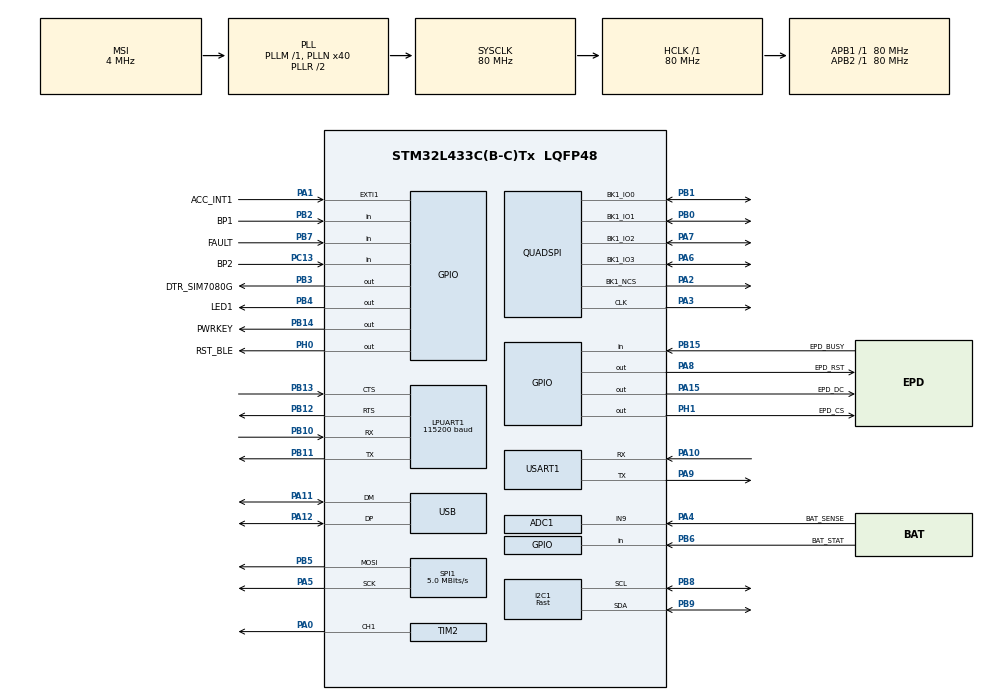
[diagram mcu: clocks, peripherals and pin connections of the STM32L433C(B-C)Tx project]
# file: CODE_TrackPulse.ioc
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ADC1.Channel-6\#ChannelRegularConversion=ADC_CHANNEL_9
ADC1.ClockPrescaler=ADC_CLOCK_SYNC_PCLK_DIV4
ADC1.EnableRegularConversion=ENABLE
ADC1.NbrOfConversion=1
ADC1.NbrOfConversionFlag=1
ADC1.OffsetNumber-6\#ChannelRegularConversion=ADC_OFFSET_NONE
ADC1.Rank-6\#ChannelRegularConversion=1
ADC1.SamplingTime-6\#ChannelRegularConversion=ADC_SAMPLETIME_640CYCLES_5
ADC1.master=1
I2C1.I2C_Speed_Mode=I2C_Fast
I2C1.Timing=0x00F12981
LPUART1.BaudRate=115200
Mcu.Family=STM32L4
Mcu.Name=STM32L433C(B-C)Tx
Mcu.Package=LQFP48
NVIC.EXTI1_IRQn=true\:0\:0\:false\:false\:true\:true\:true\:true
NVIC.PriorityGroup=NVIC_PRIORITYGROUP_4
NVIC.RTC_WKUP_IRQn=true\:0\:0\:false\:false\:true\:true\:true\:true
NVIC.USART1_IRQn=true\:0\:0\:false\:false\:true\:true\:true\:true
NVIC.USB_IRQn=true\:0\:0\:false\:false\:true\:false\:true\:true
PA0.Signal=S_TIM2_CH1
PA1.GPIO_Label=ACC_INT1
PA1.Signal=GPXTI1
PA10.Mode=Asynchronous
PA10.Signal=USART1_RX
PA11.Mode=Device
PA11.Signal=USB_DM
PA12.Mode=Device
PA12.Signal=USB_DP
PA13\ (JTMS-SWDIO).Mode=Serial_Wire
PA13\ (JTMS-SWDIO).Signal=SYS_JTMS-SWDIO
PA14\ (JTCK-SWCLK).Mode=Serial_Wire
PA14\ (JTCK-SWCLK).Signal=SYS_JTCK-SWCLK
PA15\ (JTDI).GPIO_Label=EPD_DC
PA15\ (JTDI).Signal=GPIO_Output
PA2.Mode=Single Bank 1
PA2.Signal=QUADSPI_BK1_NCS
PA3.Mode=Single Bank 1
PA3.Signal=QUADSPI_CLK
PA4.GPIO_Label=BAT_SENSE
PA4.Signal=ADCx_IN9
PA5.Mode=TX_Only_Simplex_Unidirect_Master
PA5.Signal=SPI1_SCK
PA6.Mode=Single Bank 1
PA6.Signal=QUADSPI_BK1_IO3
PA7.Mode=Single Bank 1
PA7.Signal=QUADSPI_BK1_IO2
PA8.GPIO_Label=EPD_RST
PA8.PinState=GPIO_PIN_SET
PA8.Signal=GPIO_Output
PA9.Mode=Asynchronous
PA9.Signal=USART1_TX
PB0.Mode=Single Bank 1
PB0.Signal=QUADSPI_BK1_IO1
PB1.Mode=Single Bank 1
PB1.Signal=QUADSPI_BK1_IO0
PB10.Mode=Asynchronous
PB10.Signal=LPUART1_RX
PB11.Mode=Asynchronous
PB11.Signal=LPUART1_TX
PB12.Mode=CTS_RTS
PB12.Signal=LPUART1_RTS
PB13.Mode=CTS_RTS
PB13.Signal=LPUART1_CTS
PB14.GPIO_Label=PWRKEY
PB14.Signal=GPIO_Output
PB15.GPIO_Label=EPD_BUSY
PB15.Signal=GPIO_Input
PB2.GPIO_Label=BP1
PB2.GPIO_PuPd=GPIO_PULLUP
PB2.Signal=GPIO_Input
PB3\ (JTDO-TRACESWO).GPIO_Label=DTR_SIM7080G
PB3\ (JTDO-TRACESWO).Signal=GPIO_Output
PB4\ (NJTRST).GPIO_Label=LED1
PB4\ (NJTRST).PinState=GPIO_PIN_SET
PB4\ (NJTRST).Signal=GPIO_Output
PB5.Mode=TX_Only_Simplex_Unidirect_Master
PB5.Signal=SPI1_MOSI
PB6.GPIO_Label=BAT_STAT
PB6.GPIO_PuPd=GPIO_PULLUP
PB6.Signal=GPIO_Input
PB7.GPIO_Label=FAULT
PB7.GPIO_PuPd=GPIO_PULLUP
PB7.Signal=GPIO_Input
PB8.Mode=I2C
PB8.Signal=I2C1_SCL
PB9.Mode=I2C
PB9.Signal=I2C1_SDA
PC13.GPIO_Label=BP2
PC13.GPIO_PuPd=GPIO_PULLUP
PC13.Signal=GPIO_Input
PC14-OSC32_IN\ (PC14).Mode=LSE-External-Oscillator
PC14-OSC32_IN\ (PC14).Signal=RCC_OSC32_IN
PC15-OSC32_OUT\ (PC15).Mode=LSE-External-Oscillator
PC15-OSC32_OUT\ (PC15).Signal=RCC_OSC32_OUT
PH0-OSC_IN\ (PH0).GPIO_Label=RST_BLE
PH0-OSC_IN\ (PH0).PinState=GPIO_PIN_SET
PH0-OSC_IN\ (PH0).Signal=GPIO_Output
PH1-OSC_OUT\ (PH1).GPIO_Label=EPD_CS
PH1-OSC_OUT\ (PH1).PinState=GPIO_PIN_SET
PH1-OSC_OUT\ (PH1).Signal=GPIO_Output
ProjectManager.HeapSize=0x200
ProjectManager.StackSize=0x400
ProjectManager.TargetToolchain=CMake
QUADSPI.ChipSelectHighTime=QSPI_CS_HIGH_TIME_5_CYCLE
QUADSPI.ClockPrescaler=1
QUADSPI.FifoThreshold=4
QUADSPI.FlashSize=22
RCC.ADCFreq_Value=48000000
RCC.AHBFreq_Value=80000000
RCC.APB1Freq_Value=80000000
RCC.APB1TimFreq_Value=80000000
RCC.APB2Freq_Value=80000000
RCC.APB2TimFreq_Value=80000000
RCC.CK48CLockSelection=RCC_USBCLKSOURCE_HSI48
RCC.CortexFreq_Value=80000000
RCC.HCLKFreq_Value=80000000
RCC.HSE_VALUE=8000000
RCC.HSI48_VALUE=48000000
RCC.HSI_VALUE=16000000
RCC.LPUART1CLockSelection=RCC_LPUART1CLKSOURCE_HSI
RCC.MSI_VALUE=4000000
RCC.PLLN=40
RCC.PLLSAI1N=24
RCC.RTCClockSelection=RCC_RTCCLKSOURCE_LSE
RCC.SYSCLKFreq_VALUE=80000000
RCC.SYSCLKSource=RCC_SYSCLKSOURCE_PLLCLK
RCC.USBFreq_Value=48000000
RCC.VCOOutputFreq_Value=160000000
RTC.Date=1
RTC.Month=RTC_MONTH_NOVEMBER
RTC.Year=26
SH.ADCx_IN9.0=ADC1_IN9,IN9-Single-Ended
SH.S_TIM2_CH1.0=TIM2_CH1,PWM Generation1 CH1
SPI1.BaudRatePrescaler=SPI_BAUDRATEPRESCALER_16
SPI1.CalculateBaudRate=5.0 MBits/s
SPI1.DataSize=SPI_DATASIZE_8BIT
SPI1.Direction=SPI_DIRECTION_2LINES
SPI1.Mode=SPI_MODE_MASTER
SPI1.NSSPMode=SPI_NSS_PULSE_DISABLE
SPI1.VirtualType=VM_MASTER
TIM2.AutoReloadPreload=TIM_AUTORELOAD_PRELOAD_ENABLE
TIM2.Channel-PWM\ Generation1\ CH1=TIM_CHANNEL_1
TIM2.Period=365
TIM2.Prescaler=79
TIM2.Pulse-PWM\ Generation1\ CH1=183
USART1.VirtualMode-Asynchronous=VM_ASYNC
USB.battery_charging_enable=DISABLE
USB_DEVICE.CLASS_NAME_FS=CDC
USB_DEVICE.VirtualMode=Cdc
USB_DEVICE.VirtualModeFS=Cdc_FS
VP_RCC_USB.Mode=CRS SYNC Source USB
VP_RTC_VS_RTC_Activate.Mode=RTC_Enabled
VP_RTC_VS_RTC_Calendar.Mode=RTC_Calendar
VP_RTC_VS_RTC_WakeUp_intern.Mode=WakeUp
VP_TIM2_VS_ClockSourceINT.Mode=Internal
VP_USB_DEVICE_VS_USB_DEVICE_CDC_FS.Mode=CDC_FS
board=custom

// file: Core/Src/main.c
/* USER CODE BEGIN Header */
/**
  ******************************************************************************
  * @file           : main.c
  * @brief          : Main program body
  ******************************************************************************
  * @attention
  *
  * Copyright (c) 2026 STMicroelectronics.
  * All rights reserved.
  *
  * This software is licensed under terms that can be found in the LICENSE file
  * in the root directory of this software component.
  * If no LICENSE file comes with this software, it is provided AS-IS.
  *
  ******************************************************************************
  */
/* USER CODE END Header */
#include "main.h"
#include "usb_device.h"

/* USER CODE BEGIN Includes */
#include <stdio.h>
#include "tp_app.h"
#include "tp_ble_rn4871.h"
#include "tp_board.h"
#include "tp_config.h"
#include "tp_modem_sim7080g.h"
/* USER CODE END Includes */

ADC_HandleTypeDef hadc1;

I2C_HandleTypeDef hi2c1;

UART_HandleTypeDef hlpuart1;
UART_HandleTypeDef huart1;

QSPI_HandleTypeDef hqspi;

RTC_HandleTypeDef hrtc;

SPI_HandleTypeDef hspi1;

TIM_HandleTypeDef htim2;

void SystemClock_Config(void);
static void MX_GPIO_Init(void);
static void MX_LPUART1_UART_Init(void);
static void MX_QUADSPI_Init(void);
static void MX_ADC1_Init(void);
static void MX_I2C1_Init(void);
static void MX_USART1_UART_Init(void);
static void MX_RTC_Init(void);
static void MX_SPI1_Init(void);
static void MX_TIM2_Init(void);

int main(void)
{

  /* MCU Configuration--------------------------------------------------------*/

  /* Reset of all peripherals, Initializes the Flash interface and the Systick. */
  HAL_Init();

  /* Configure the system clock */
  SystemClock_Config();

  /* Initialize all configured peripherals */
  MX_GPIO_Init();
  MX_LPUART1_UART_Init();
  MX_QUADSPI_Init();
  MX_ADC1_Init();
  MX_I2C1_Init();
  MX_USART1_UART_Init();
  MX_RTC_Init();
  MX_SPI1_Init();
  MX_TIM2_Init();
  MX_USB_DEVICE_Init();
  /* USER CODE BEGIN 2 */
  tp_app_init();
  /* USER CODE END 2 */

  /* Infinite loop */
  while (1)
  {

    /* USER CODE BEGIN 3 */
    tp_app_loop();
  }
  /* USER CODE END 3 */
}

void SystemClock_Config(void)
{
  RCC_OscInitTypeDef RCC_OscInitStruct = {0};
  RCC_ClkInitTypeDef RCC_ClkInitStruct = {0};
  RCC_CRSInitTypeDef RCC_CRSInitStruct = {0};

  /** Configure the main internal regulator output voltage
  */
  if (HAL_PWREx_ControlVoltageScaling(PWR_REGULATOR_VOLTAGE_SCALE1) != HAL_OK)
  {
    Error_Handler();
  }

  /** Configure LSE Drive Capability
  */
  HAL_PWR_EnableBkUpAccess();
  __HAL_RCC_LSEDRIVE_CONFIG(RCC_LSEDRIVE_LOW);

  /** Initializes the RCC Oscillators according to the specified parameters
  * in the RCC_OscInitTypeDef structure.
  */
  RCC_OscInitStruct.OscillatorType = RCC_OSCILLATORTYPE_HSI48|RCC_OSCILLATORTYPE_HSI
                              |RCC_OSCILLATORTYPE_LSE|RCC_OSCILLATORTYPE_MSI;
  RCC_OscInitStruct.LSEState = RCC_LSE_ON;
  RCC_OscInitStruct.HSIState = RCC_HSI_ON;
  RCC_OscInitStruct.HSI48State = RCC_HSI48_ON;
  RCC_OscInitStruct.HSICalibrationValue = RCC_HSICALIBRATION_DEFAULT;
  RCC_OscInitStruct.MSIState = RCC_MSI_ON;
  RCC_OscInitStruct.MSICalibrationValue = 0;
  RCC_OscInitStruct.MSIClockRange = RCC_MSIRANGE_6;
  RCC_OscInitStruct.PLL.PLLState = RCC_PLL_ON;
  RCC_OscInitStruct.PLL.PLLSource = RCC_PLLSOURCE_MSI;
  RCC_OscInitStruct.PLL.PLLM = 1;
  RCC_OscInitStruct.PLL.PLLN = 40;
  RCC_OscInitStruct.PLL.PLLP = RCC_PLLP_DIV7;
  RCC_OscInitStruct.PLL.PLLQ = RCC_PLLQ_DIV2;
  RCC_OscInitStruct.PLL.PLLR = RCC_PLLR_DIV2;
  if (HAL_RCC_OscConfig(&RCC_OscInitStruct) != HAL_OK)
  {
    Error_Handler();
  }

  /** Initializes the CPU, AHB and APB buses clocks
  */
  RCC_ClkInitStruct.ClockType = RCC_CLOCKTYPE_HCLK|RCC_CLOCKTYPE_SYSCLK
                              |RCC_CLOCKTYPE_PCLK1|RCC_CLOCKTYPE_PCLK2;
  RCC_ClkInitStruct.SYSCLKSource = RCC_SYSCLKSOURCE_PLLCLK;
  RCC_ClkInitStruct.AHBCLKDivider = RCC_SYSCLK_DIV1;
  RCC_ClkInitStruct.APB1CLKDivider = RCC_HCLK_DIV1;
  RCC_ClkInitStruct.APB2CLKDivider = RCC_HCLK_DIV1;

  if (HAL_RCC_ClockConfig(&RCC_ClkInitStruct, FLASH_LATENCY_4) != HAL_OK)
  {
    Error_Handler();
  }

  /** Enable MSI Auto calibration
  */
  HAL_RCCEx_EnableMSIPLLMode();

  /** Enable the SYSCFG APB clock
  */
  __HAL_RCC_CRS_CLK_ENABLE();

  /** Configures CRS
  */
  RCC_CRSInitStruct.Prescaler = RCC_CRS_SYNC_DIV1;
  RCC_CRSInitStruct.Source = RCC_CRS_SYNC_SOURCE_USB;
  RCC_CRSInitStruct.Polarity = RCC_CRS_SYNC_POLARITY_RISING;
  RCC_CRSInitStruct.ReloadValue = __HAL_RCC_CRS_RELOADVALUE_CALCULATE(48000000,1000);
  RCC_CRSInitStruct.ErrorLimitValue = 34;
  RCC_CRSInitStruct.HSI48CalibrationValue = 32;

  HAL_RCCEx_CRSConfig(&RCC_CRSInitStruct);
}

static void MX_ADC1_Init(void)
{

  ADC_ChannelConfTypeDef sConfig = {0};

  /** Common config
  */
  hadc1.Instance = ADC1;
  hadc1.Init.ClockPrescaler = ADC_CLOCK_SYNC_PCLK_DIV4;
  hadc1.Init.Resolution = ADC_RESOLUTION_12B;
  hadc1.Init.DataAlign = ADC_DATAALIGN_RIGHT;
  hadc1.Init.ScanConvMode = ADC_SCAN_DISABLE;
  hadc1.Init.EOCSelection = ADC_EOC_SINGLE_CONV;
  hadc1.Init.LowPowerAutoWait = DISABLE;
  hadc1.Init.ContinuousConvMode = DISABLE;
  hadc1.Init.NbrOfConversion = 1;
  hadc1.Init.DiscontinuousConvMode = DISABLE;
  hadc1.Init.ExternalTrigConv = ADC_SOFTWARE_START;
  hadc1.Init.ExternalTrigConvEdge = ADC_EXTERNALTRIGCONVEDGE_NONE;
  hadc1.Init.DMAContinuousRequests = DISABLE;
  hadc1.Init.Overrun = ADC_OVR_DATA_PRESERVED;
  hadc1.Init.OversamplingMode = DISABLE;
  if (HAL_ADC_Init(&hadc1) != HAL_OK)
  {
    Error_Handler();
  }

  /** Configure Regular Channel
  */
  sConfig.Channel = ADC_CHANNEL_9;
  sConfig.Rank = ADC_REGULAR_RANK_1;
  sConfig.SamplingTime = ADC_SAMPLETIME_640CYCLES_5;
  sConfig.SingleDiff = ADC_SINGLE_ENDED;
  sConfig.OffsetNumber = ADC_OFFSET_NONE;
  sConfig.Offset = 0;
  if (HAL_ADC_ConfigChannel(&hadc1, &sConfig) != HAL_OK)
  {
    Error_Handler();
  }

}

static void MX_I2C1_Init(void)
{

  hi2c1.Instance = I2C1;
  hi2c1.Init.Timing = 0x00F12981;
  hi2c1.Init.OwnAddress1 = 0;
  hi2c1.Init.AddressingMode = I2C_ADDRESSINGMODE_7BIT;
  hi2c1.Init.DualAddressMode = I2C_DUALADDRESS_DISABLE;
  hi2c1.Init.OwnAddress2 = 0;
  hi2c1.Init.OwnAddress2Masks = I2C_OA2_NOMASK;
  hi2c1.Init.GeneralCallMode = I2C_GENERALCALL_DISABLE;
  hi2c1.Init.NoStretchMode = I2C_NOSTRETCH_DISABLE;
  if (HAL_I2C_Init(&hi2c1) != HAL_OK)
  {
    Error_Handler();
  }

  /** Configure Analogue filter
  */
  if (HAL_I2CEx_ConfigAnalogFilter(&hi2c1, I2C_ANALOGFILTER_ENABLE) != HAL_OK)
  {
    Error_Handler();
  }

  /** Configure Digital filter
  */
  if (HAL_I2CEx_ConfigDigitalFilter(&hi2c1, 0) != HAL_OK)
  {
    Error_Handler();
  }

}

static void MX_LPUART1_UART_Init(void)
{

  hlpuart1.Instance = LPUART1;
  hlpuart1.Init.BaudRate = 115200;
  hlpuart1.Init.WordLength = UART_WORDLENGTH_7B;
  hlpuart1.Init.StopBits = UART_STOPBITS_1;
  hlpuart1.Init.Parity = UART_PARITY_NONE;
  hlpuart1.Init.Mode = UART_MODE_TX_RX;
  hlpuart1.Init.HwFlowCtl = UART_HWCONTROL_RTS_CTS;
  hlpuart1.Init.OneBitSampling = UART_ONE_BIT_SAMPLE_DISABLE;
  hlpuart1.AdvancedInit.AdvFeatureInit = UART_ADVFEATURE_NO_INIT;
  if (HAL_UART_Init(&hlpuart1) != HAL_OK)
  {
    Error_Handler();
  }
  /* USER CODE BEGIN LPUART1_Init 2 */
  /* Override CubeMX 7-bit default -> 8-N-1 required by RN4871 & binary protocol */
  hlpuart1.Init.WordLength = UART_WORDLENGTH_8B;
  if (HAL_UART_Init(&hlpuart1) != HAL_OK)
  {
    Error_Handler();
  }
  HAL_NVIC_SetPriority(LPUART1_IRQn, 1, 0);
  HAL_NVIC_EnableIRQ(LPUART1_IRQn);
  /* USER CODE END LPUART1_Init 2 */

}

static void MX_USART1_UART_Init(void)
{

  huart1.Instance = USART1;
  huart1.Init.BaudRate = 115200;
  huart1.Init.WordLength = UART_WORDLENGTH_8B;
  huart1.Init.StopBits = UART_STOPBITS_1;
  huart1.Init.Parity = UART_PARITY_NONE;
  huart1.Init.Mode = UART_MODE_TX_RX;
  huart1.Init.HwFlowCtl = UART_HWCONTROL_NONE;
  huart1.Init.OverSampling = UART_OVERSAMPLING_16;
  huart1.Init.OneBitSampling = UART_ONE_BIT_SAMPLE_DISABLE;
  huart1.AdvancedInit.AdvFeatureInit = UART_ADVFEATURE_NO_INIT;
  if (HAL_UART_Init(&huart1) != HAL_OK)
  {
    Error_Handler();
  }

}

static void MX_QUADSPI_Init(void)
{

  /* QUADSPI parameter configuration*/
  hqspi.Instance = QUADSPI;
  hqspi.Init.ClockPrescaler = 1;
  hqspi.Init.FifoThreshold = 4;
  hqspi.Init.SampleShifting = QSPI_SAMPLE_SHIFTING_NONE;
  hqspi.Init.FlashSize = 22;
  hqspi.Init.ChipSelectHighTime = QSPI_CS_HIGH_TIME_5_CYCLE;
  hqspi.Init.ClockMode = QSPI_CLOCK_MODE_0;
  hqspi.Init.FlashID = QSPI_FLASH_ID_1;
  hqspi.Init.DualFlash = QSPI_DUALFLASH_DISABLE;
  if (HAL_QSPI_Init(&hqspi) != HAL_OK)
  {
    Error_Handler();
  }

}

static void MX_RTC_Init(void)
{

  RTC_TimeTypeDef sTime = {0};
  RTC_DateTypeDef sDate = {0};

  /** Initialize RTC Only
  */
  hrtc.Instance = RTC;
  hrtc.Init.HourFormat = RTC_HOURFORMAT_24;
  hrtc.Init.AsynchPrediv = 127;
  hrtc.Init.SynchPrediv = 255;
  hrtc.Init.OutPut = RTC_OUTPUT_DISABLE;
  hrtc.Init.OutPutRemap = RTC_OUTPUT_REMAP_NONE;
  hrtc.Init.OutPutPolarity = RTC_OUTPUT_POLARITY_HIGH;
  hrtc.Init.OutPutType = RTC_OUTPUT_TYPE_OPENDRAIN;
  if (HAL_RTC_Init(&hrtc) != HAL_OK)
  {
    Error_Handler();
  }

  /* USER CODE BEGIN Check_RTC_BKUP */
  if (HAL_RTCEx_BKUPRead(&hrtc, RTC_BKP_DR0) == TP_RTC_BKP_MAGIC)
  {
    return;
  }
  /* USER CODE END Check_RTC_BKUP */

  /** Initialize RTC and set the Time and Date
  */
  sTime.Hours = 0x0;
  sTime.Minutes = 0x0;
  sTime.Seconds = 0x0;
  sTime.DayLightSaving = RTC_DAYLIGHTSAVING_NONE;
  sTime.StoreOperation = RTC_STOREOPERATION_RESET;
  if (HAL_RTC_SetTime(&hrtc, &sTime, RTC_FORMAT_BCD) != HAL_OK)
  {
    Error_Handler();
  }
  sDate.WeekDay = RTC_WEEKDAY_MONDAY;
  sDate.Month = RTC_MONTH_NOVEMBER;
  sDate.Date = 0x1;
  sDate.Year = 0x26;

  if (HAL_RTC_SetDate(&hrtc, &sDate, RTC_FORMAT_BCD) != HAL_OK)
  {
    Error_Handler();
  }

}

static void MX_SPI1_Init(void)
{

  /* SPI1 parameter configuration*/
  hspi1.Instance = SPI1;
  hspi1.Init.Mode = SPI_MODE_MASTER;
  hspi1.Init.Direction = SPI_DIRECTION_2LINES;
  hspi1.Init.DataSize = SPI_DATASIZE_8BIT;
  hspi1.Init.CLKPolarity = SPI_POLARITY_LOW;
  hspi1.Init.CLKPhase = SPI_PHASE_1EDGE;
  hspi1.Init.NSS = SPI_NSS_SOFT;
  hspi1.Init.BaudRatePrescaler = SPI_BAUDRATEPRESCALER_16;
  hspi1.Init.FirstBit = SPI_FIRSTBIT_MSB;
  hspi1.Init.TIMode = SPI_TIMODE_DISABLE;
  hspi1.Init.CRCCalculation = SPI_CRCCALCULATION_DISABLE;
  hspi1.Init.CRCPolynomial = 7;
  hspi1.Init.CRCLength = SPI_CRC_LENGTH_DATASIZE;
  hspi1.Init.NSSPMode = SPI_NSS_PULSE_DISABLE;
  if (HAL_SPI_Init(&hspi1) != HAL_OK)
  {
    Error_Handler();
  }

}

static void MX_TIM2_Init(void)
{

  TIM_ClockConfigTypeDef sClockSourceConfig = {0};
  TIM_MasterConfigTypeDef sMasterConfig = {0};
  TIM_OC_InitTypeDef sConfigOC = {0};

  htim2.Instance = TIM2;
  htim2.Init.Prescaler = 79;
  htim2.Init.CounterMode = TIM_COUNTERMODE_UP;
  htim2.Init.Period = 365;
  htim2.Init.ClockDivision = TIM_CLOCKDIVISION_DIV1;
  htim2.Init.AutoReloadPreload = TIM_AUTORELOAD_PRELOAD_ENABLE;
  if (HAL_TIM_Base_Init(&htim2) != HAL_OK)
  {
    Error_Handler();
  }
  sClockSourceConfig.ClockSource = TIM_CLOCKSOURCE_INTERNAL;
  if (HAL_TIM_ConfigClockSource(&htim2, &sClockSourceConfig) != HAL_OK)
  {
    Error_Handler();
  }
  if (HAL_TIM_PWM_Init(&htim2) != HAL_OK)
  {
    Error_Handler();
  }
  sMasterConfig.MasterOutputTrigger = TIM_TRGO_RESET;
  sMasterConfig.MasterSlaveMode = TIM_MASTERSLAVEMODE_DISABLE;
  if (HAL_TIMEx_MasterConfigSynchronization(&htim2, &sMasterConfig) != HAL_OK)
  {
    Error_Handler();
  }
  sConfigOC.OCMode = TIM_OCMODE_PWM1;
  sConfigOC.Pulse = 183;
  sConfigOC.OCPolarity = TIM_OCPOLARITY_HIGH;
  sConfigOC.OCFastMode = TIM_OCFAST_DISABLE;
  if (HAL_TIM_PWM_ConfigChannel(&htim2, &sConfigOC, TIM_CHANNEL_1) != HAL_OK)
  {
    Error_Handler();
  }
  HAL_TIM_MspPostInit(&htim2);

}

static void MX_GPIO_Init(void)
{
  GPIO_InitTypeDef GPIO_InitStruct = {0};

  /* GPIO Ports Clock Enable */
  __HAL_RCC_GPIOC_CLK_ENABLE();
  __HAL_RCC_GPIOH_CLK_ENABLE();
  __HAL_RCC_GPIOA_CLK_ENABLE();
  __HAL_RCC_GPIOB_CLK_ENABLE();

  /*Configure GPIO pin Output Level */
  HAL_GPIO_WritePin(GPIOH, RST_BLE_Pin|EPD_CS_Pin, GPIO_PIN_SET);

  /*Configure GPIO pin Output Level */
  HAL_GPIO_WritePin(GPIOB, PWRKEY_Pin|DTR_SIM7080G_Pin, GPIO_PIN_RESET);

  /*Configure GPIO pin Output Level */
  HAL_GPIO_WritePin(EPD_RST_GPIO_Port, EPD_RST_Pin, GPIO_PIN_SET);

  /*Configure GPIO pin Output Level */
  HAL_GPIO_WritePin(EPD_DC_GPIO_Port, EPD_DC_Pin, GPIO_PIN_RESET);

  /*Configure GPIO pin Output Level */
  HAL_GPIO_WritePin(LED1_GPIO_Port, LED1_Pin, GPIO_PIN_SET);

  /*Configure GPIO pin : BP2_Pin */
  GPIO_InitStruct.Pin = BP2_Pin;
  GPIO_InitStruct.Mode = GPIO_MODE_INPUT;
  GPIO_InitStruct.Pull = GPIO_PULLUP;
  HAL_GPIO_Init(BP2_GPIO_Port, &GPIO_InitStruct);

  /*Configure GPIO pins : RST_BLE_Pin EPD_CS_Pin */
  GPIO_InitStruct.Pin = RST_BLE_Pin|EPD_CS_Pin;
  GPIO_InitStruct.Mode = GPIO_MODE_OUTPUT_PP;
  GPIO_InitStruct.Pull = GPIO_NOPULL;
  GPIO_InitStruct.Speed = GPIO_SPEED_FREQ_LOW;
  HAL_GPIO_Init(GPIOH, &GPIO_InitStruct);

  /*Configure GPIO pin : ACC_INT1_Pin */
  GPIO_InitStruct.Pin = ACC_INT1_Pin;
  GPIO_InitStruct.Mode = GPIO_MODE_IT_RISING;
  GPIO_InitStruct.Pull = GPIO_NOPULL;
  HAL_GPIO_Init(ACC_INT1_GPIO_Port, &GPIO_InitStruct);

  /*Configure GPIO pins : BP1_Pin BAT_STAT_Pin FAULT_Pin */
  GPIO_InitStruct.Pin = BP1_Pin|BAT_STAT_Pin|FAULT_Pin;
  GPIO_InitStruct.Mode = GPIO_MODE_INPUT;
  GPIO_InitStruct.Pull = GPIO_PULLUP;
  HAL_GPIO_Init(GPIOB, &GPIO_InitStruct);

  /*Configure GPIO pins : PWRKEY_Pin DTR_SIM7080G_Pin LED1_Pin */
  GPIO_InitStruct.Pin = PWRKEY_Pin|DTR_SIM7080G_Pin|LED1_Pin;
  GPIO_InitStruct.Mode = GPIO_MODE_OUTPUT_PP;
  GPIO_InitStruct.Pull = GPIO_NOPULL;
  GPIO_InitStruct.Speed = GPIO_SPEED_FREQ_LOW;
  HAL_GPIO_Init(GPIOB, &GPIO_InitStruct);

  /*Configure GPIO pin : EPD_BUSY_Pin */
  GPIO_InitStruct.Pin = EPD_BUSY_Pin;
  GPIO_InitStruct.Mode = GPIO_MODE_INPUT;
  GPIO_InitStruct.Pull = GPIO_NOPULL;
  HAL_GPIO_Init(EPD_BUSY_GPIO_Port, &GPIO_InitStruct);

  /*Configure GPIO pins : EPD_RST_Pin EPD_DC_Pin */
  GPIO_InitStruct.Pin = EPD_RST_Pin|EPD_DC_Pin;
  GPIO_InitStruct.Mode = GPIO_MODE_OUTPUT_PP;
  GPIO_InitStruct.Pull = GPIO_NOPULL;
  GPIO_InitStruct.Speed = GPIO_SPEED_FREQ_LOW;
  HAL_GPIO_Init(GPIOA, &GPIO_InitStruct);

  /* EXTI interrupt init*/
  HAL_NVIC_SetPriority(EXTI1_IRQn, 0, 0);
  HAL_NVIC_EnableIRQ(EXTI1_IRQn);

}

/* USER CODE BEGIN 4 */
void HAL_GPIO_EXTI_Callback(uint16_t GPIO_Pin)
{
  if (GPIO_Pin == ACC_INT1_Pin)
  {
    tp_board_notify_acc_int1_isr();
  }
}

void HAL_RTCEx_WakeUpTimerEventCallback(RTC_HandleTypeDef *hrtc_cb)
{
  UNUSED(hrtc_cb);
  tp_board_notify_rtc_wakeup_isr();
}

void HAL_UART_RxCpltCallback(UART_HandleTypeDef *huart)
{
  if (huart->Instance == LPUART1)
  {
    tp_ble_uart_rx_isr();
  }
  else if (huart->Instance == USART1)
  {
    tp_modem_uart_rx_isr();
  }
}

void HAL_UART_ErrorCallback(UART_HandleTypeDef *huart)
{
  if (huart->Instance == LPUART1)
  {
    tp_ble_uart_err_isr();
  }
  else if (huart->Instance == USART1)
  {
    tp_modem_uart_err_isr();
  }
}
/* USER CODE END 4 */

void Error_Handler(void)
{
  __disable_irq();
  while (1)
  {
  }
}
